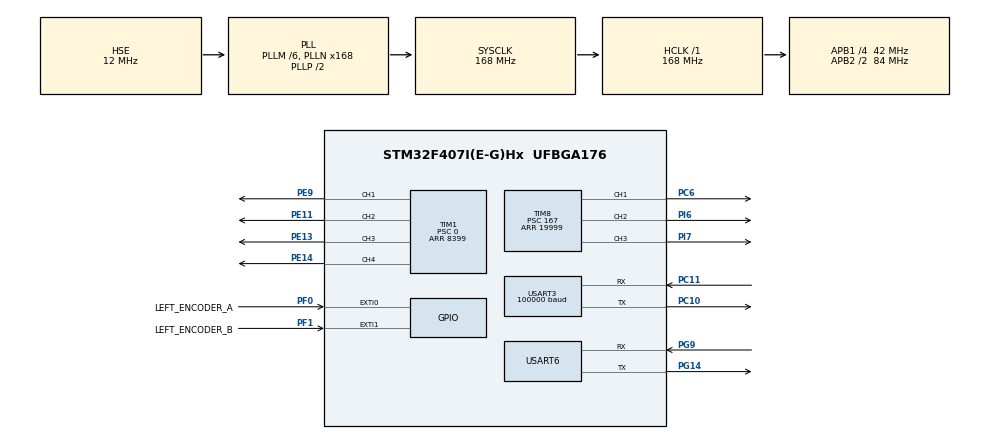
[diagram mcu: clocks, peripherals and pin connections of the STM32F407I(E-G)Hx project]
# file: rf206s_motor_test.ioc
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Dma.Request0=USART3_RX
Dma.USART3_RX.0.Direction=DMA_PERIPH_TO_MEMORY
Dma.USART3_RX.0.FIFOMode=DMA_FIFOMODE_DISABLE
Dma.USART3_RX.0.Instance=DMA1_Stream1
Dma.USART3_RX.0.MemDataAlignment=DMA_MDATAALIGN_BYTE
Dma.USART3_RX.0.MemInc=DMA_MINC_ENABLE
Dma.USART3_RX.0.Mode=DMA_NORMAL
Dma.USART3_RX.0.PeriphDataAlignment=DMA_PDATAALIGN_BYTE
Dma.USART3_RX.0.PeriphInc=DMA_PINC_DISABLE
Dma.USART3_RX.0.Priority=DMA_PRIORITY_LOW
Mcu.Family=STM32F4
Mcu.Name=STM32F407I(E-G)Hx
Mcu.Package=UFBGA176
NVIC.DMA1_Stream1_IRQn=true\:0\:0\:false\:false\:true\:false\:false\:true
NVIC.EXTI0_IRQn=true\:1\:0\:true\:false\:true\:true\:true\:true
NVIC.EXTI1_IRQn=true\:1\:0\:true\:false\:true\:true\:true\:true
NVIC.PriorityGroup=NVIC_PRIORITYGROUP_4
NVIC.USART3_IRQn=true\:0\:0\:false\:false\:true\:true\:true\:true
PA13.Mode=Serial_Wire
PA13.Signal=SYS_JTMS-SWDIO
PA14.Mode=Serial_Wire
PA14.Signal=SYS_JTCK-SWCLK
PC10.Mode=Asynchronous
PC10.Signal=USART3_TX
PC11.Mode=Asynchronous
PC11.Signal=USART3_RX
PC6.GPIO_PuPd=GPIO_PULLUP
PC6.GPIO_Speed=GPIO_SPEED_FREQ_HIGH
PC6.Signal=S_TIM8_CH1
PE11.GPIO_PuPd=GPIO_NOPULL
PE11.GPIO_Speed=GPIO_SPEED_FREQ_HIGH
PE11.Signal=S_TIM1_CH2
PE13.GPIO_PuPd=GPIO_PULLUP
PE13.GPIO_Speed=GPIO_SPEED_FREQ_HIGH
PE13.Signal=S_TIM1_CH3
PE14.GPIO_PuPd=GPIO_PULLUP
PE14.GPIO_Speed=GPIO_SPEED_FREQ_HIGH
PE14.Signal=S_TIM1_CH4
PE9.GPIO_PuPd=GPIO_NOPULL
PE9.GPIO_Speed=GPIO_SPEED_FREQ_HIGH
PE9.Signal=S_TIM1_CH1
PF0.GPIO_Label=LEFT_ENCODER_A
PF0.GPIO_ModeDefaultEXTI=GPIO_MODE_IT_RISING_FALLING
PF0.Signal=GPXTI0
PF1.GPIO_Label=LEFT_ENCODER_B
PF1.GPIO_ModeDefaultEXTI=GPIO_MODE_IT_RISING_FALLING
PF1.Signal=GPXTI1
PG14.Mode=Asynchronous
PG14.Signal=USART6_TX
PG9.Mode=Asynchronous
PG9.Signal=USART6_RX
PH0-OSC_IN.Mode=HSE-External-Oscillator
PH0-OSC_IN.Signal=RCC_OSC_IN
PH1-OSC_OUT.Mode=HSE-External-Oscillator
PH1-OSC_OUT.Signal=RCC_OSC_OUT
PI6.GPIO_PuPd=GPIO_PULLUP
PI6.GPIO_Speed=GPIO_SPEED_FREQ_HIGH
PI6.Signal=S_TIM8_CH2
PI7.Signal=S_TIM8_CH3
ProjectManager.HeapSize=0x2000
ProjectManager.StackSize=0x2000
ProjectManager.TargetToolchain=CMake
RCC.48MHZClocksFreq_Value=48000000
RCC.AHBFreq_Value=168000000
RCC.APB1CLKDivider=RCC_HCLK_DIV4
RCC.APB1Freq_Value=42000000
RCC.APB1TimFreq_Value=84000000
RCC.APB2CLKDivider=RCC_HCLK_DIV2
RCC.APB2Freq_Value=84000000
RCC.APB2TimFreq_Value=168000000
RCC.CortexFreq_Value=168000000
RCC.HCLKFreq_Value=168000000
RCC.HSE_VALUE=12000000
RCC.HSI_VALUE=16000000
RCC.LSE_VALUE=32768
RCC.PLLM=6
RCC.PLLN=168
RCC.PLLQ=7
RCC.PLLSourceVirtual=RCC_PLLSOURCE_HSE
RCC.RCC_RTC_Clock_SourceVirtual=RCC_RTCCLKSOURCE_HSE_DIV30
RCC.RCC_RTC_Clock_Source_FROM_HSE=RCC_RTCCLKSOURCE_HSE_DIV30
RCC.SYSCLKFreq_VALUE=168000000
RCC.SYSCLKSource=RCC_SYSCLKSOURCE_PLLCLK
RCC.VCOOutputFreq_Value=336000000
SH.S_TIM1_CH1.0=TIM1_CH1,PWM Generation1 CH1
SH.S_TIM1_CH2.0=TIM1_CH2,PWM Generation2 CH2
SH.S_TIM1_CH3.0=TIM1_CH3,PWM Generation3 CH3
SH.S_TIM1_CH4.0=TIM1_CH4,PWM Generation4 CH4
SH.S_TIM8_CH1.0=TIM8_CH1,PWM Generation1 CH1
SH.S_TIM8_CH2.0=TIM8_CH2,PWM Generation2 CH2
SH.S_TIM8_CH3.0=TIM8_CH3,PWM Generation3 CH3
TIM1.Channel-PWM\ Generation1\ CH1=TIM_CHANNEL_1
TIM1.Channel-PWM\ Generation2\ CH2=TIM_CHANNEL_2
TIM1.Channel-PWM\ Generation3\ CH3=TIM_CHANNEL_3
TIM1.Channel-PWM\ Generation4\ CH4=TIM_CHANNEL_4
TIM1.Period=8399
TIM1.Prescaler=0
TIM1.Pulse-PWM\ Generation1\ CH1=0
TIM1.Pulse-PWM\ Generation2\ CH2=0
TIM1.Pulse-PWM\ Generation3\ CH3=0
TIM1.Pulse-PWM\ Generation4\ CH4=0
TIM8.Channel-PWM\ Generation1\ CH1=TIM_CHANNEL_1
TIM8.Channel-PWM\ Generation2\ CH2=TIM_CHANNEL_2
TIM8.Channel-PWM\ Generation3\ CH3=TIM_CHANNEL_3
TIM8.Period=19999
TIM8.Prescaler=167
TIM8.Pulse-PWM\ Generation1\ CH1=2000
TIM8.Pulse-PWM\ Generation2\ CH2=2000
TIM8.Pulse-PWM\ Generation3\ CH3=2000
USART3.BaudRate=100000
USART3.Mode=MODE_RX
USART3.Parity=PARITY_EVEN
USART3.StopBits=STOPBITS_2
USART3.VirtualMode=VM_ASYNC
USART3.WordLength=WORDLENGTH_9B
USART6.VirtualMode=VM_ASYNC
VP_TIM1_VS_ClockSourceINT.Mode=Internal
VP_TIM8_VS_ClockSourceINT.Mode=Internal
board=custom

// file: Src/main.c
/* USER CODE BEGIN Header */
/**
  ******************************************************************************
  * @file           : main.c
  * @brief          : Main program body
  ******************************************************************************
  * @attention
  *
  * <h2><center>&copy; Copyright (c) 2019 STMicroelectronics.
  * All rights reserved.</center></h2>
  *
  * This software component is licensed by ST under BSD 3-Clause license,
  * the "License"; You may not use this file except in compliance with the
  * License. You may obtain a copy of the License at:
  *                        opensource.org/licenses/BSD-3-Clause
  *
  ******************************************************************************
  */
/* USER CODE END Header */
#include "main.h"
#include "dma.h"
#include "tim.h"
#include "usart.h"
#include "gpio.h"

/* USER CODE BEGIN Includes */
#include <stdio.h>
/* USER CODE END Includes */

/* USER CODE BEGIN PD */
#define WBUS_RX_BUFFER_SIZE          32U
#define WBUS_FRAME_SIZE              25U
#define WBUS_EXPECTED_START_BYTE     0x0FU
#define WBUS_EXPECTED_END_BYTE       0x00U
#define WBUS_FLAGS_INDEX             23U
#define WBUS_FLAG_FRAME_LOST         0x04U
#define WBUS_FLAG_FAILSAFE           0x08U
#define WBUS_LINK_TIMEOUT_MS         100U

#define DRIVE_CONTROL_PERIOD_MS      10U
#define DRIVE_STICK_CENTER           1024
#define DRIVE_STICK_DEADZONE         80
#define DRIVE_STICK_SPAN             670
#define DRIVE_COMMAND_FULL_SCALE     1000
#define DRIVE_SLEW_STEP              5
#define DRIVE_MAX_DUTY_PERCENT       50U
#define DRIVE_ENABLE_THRESHOLD       1024U
#define DRIVE_THROTTLE_CHANNEL       2U
#define DRIVE_TURN_CHANNEL           0U
#define DRIVE_ENABLE_CHANNEL         4U
#define DRIVE_LEFT_MOTOR_POLARITY    1
#define DRIVE_RIGHT_MOTOR_POLARITY   (-1)

#define ENCODER_SPEED_SAMPLE_MS      100U

#define DEBUG_UART_PERIOD_MS         100U
#define DEBUG_UART_HEADER_INTERVAL   50U
/* USER CODE END PD */

/* USER CODE BEGIN PV */
static uint8_t wbus_dma_buffer[WBUS_RX_BUFFER_SIZE];

/*
 * These volatile variables are intentionally easy to inspect in a debugger.
 * W.BUS input, safety state, and drive outputs remain visible to the debugger.
 */
volatile uint8_t wbus_last_frame[WBUS_RX_BUFFER_SIZE];
volatile uint16_t wbus_last_length = 0U;
volatile uint8_t wbus_first_byte = 0U;
volatile uint8_t wbus_last_byte = 0U;
volatile uint8_t wbus_header_ok = 0U;
volatile uint8_t wbus_candidate_frame = 0U;
volatile uint8_t wbus_frame_valid = 0U;
volatile uint8_t wbus_flags = 0U;
volatile uint8_t wbus_frame_lost = 0U;
volatile uint8_t wbus_failsafe = 0U;
volatile uint8_t wbus_digital_channel_17 = 0U;
volatile uint8_t wbus_digital_channel_18 = 0U;
volatile uint8_t wbus_link_alive = 0U;
volatile uint8_t wbus_rx_needs_restart = 0U;
volatile uint16_t wbus_channels[16];
volatile uint32_t wbus_last_tick = 0U;
volatile uint32_t wbus_rx_event_count = 0U;
volatile uint32_t wbus_valid_frame_count = 0U;
volatile uint32_t wbus_invalid_event_count = 0U;
volatile uint32_t wbus_uart_error_count = 0U;
volatile uint32_t wbus_rx_restart_error_count = 0U;
volatile uint32_t wbus_last_uart_error = HAL_UART_ERROR_NONE;

/*
 * Drive diagnostic values.  Command range is -1000..1000.  PWM output is
 * additionally limited to DRIVE_MAX_DUTY_PERCENT for the first track test.
 */
volatile int16_t drive_throttle_command = 0;
volatile int16_t drive_turn_command = 0;
volatile int16_t drive_left_target = 0;
volatile int16_t drive_right_target = 0;
volatile int16_t drive_left_applied = 0;
volatile int16_t drive_right_applied = 0;
volatile int16_t drive_left_output_command = 0;
volatile int16_t drive_right_output_command = 0;
volatile uint16_t drive_left_pwm = 0U;
volatile uint16_t drive_right_pwm = 0U;
volatile uint8_t drive_link_ok = 0U;
volatile uint8_t drive_enable_requested = 0U;
volatile uint8_t drive_enable_seen_low = 0U;
volatile uint8_t drive_previous_enable_request = 0U;
volatile uint8_t drive_armed = 0U;

/*
 * Left quadrature encoder diagnostics.  Position is in x4 edge counts.
 * Conversion to shaft RPM will be added after the encoder counts per
 * revolution are measured or confirmed from the motor specification.
 */
volatile int32_t left_encoder_position = 0;
volatile int32_t left_encoder_delta_100ms = 0;
volatile int32_t left_encoder_counts_per_second = 0;
volatile uint32_t left_encoder_edge_count = 0U;
volatile uint32_t left_encoder_invalid_transition_count = 0U;
volatile uint8_t left_encoder_a_level = 0U;
volatile uint8_t left_encoder_b_level = 0U;
volatile uint8_t left_encoder_previous_state = 0U;

static char debug_uart_buffer[192];
static uint8_t debug_uart_header_countdown = 0U;
/* USER CODE END PV */

void SystemClock_Config(void);
/* USER CODE BEGIN PFP */
static HAL_StatusTypeDef wbus_start_receive(void);
static void wbus_decode_channels(void);
static void wbus_store_frame(uint16_t size);
static int16_t drive_normalize_stick(uint16_t raw);
static int16_t drive_clamp_command(int32_t command);
static int16_t drive_slew(int16_t current, int16_t target);
static void drive_force_stop(void);
static void drive_write_motor(TIM_HandleTypeDef *timer,
                              uint32_t rpwm_channel,
                              uint32_t lpwm_channel,
                              int16_t command,
                              volatile uint16_t *pwm_monitor);
static void drive_control_update(void);
static void left_encoder_init(void);
static void left_encoder_update_from_edge(void);
static void left_encoder_update_speed(void);
static void debug_uart_send_snapshot(void);
/* USER CODE END PFP */

/* USER CODE BEGIN 0 */
static HAL_StatusTypeDef wbus_start_receive(void)
{
  HAL_StatusTypeDef status;

  status = HAL_UARTEx_ReceiveToIdle_DMA(&huart3,
                                        wbus_dma_buffer,
                                        WBUS_RX_BUFFER_SIZE);
  if ((status == HAL_OK) && (huart3.hdmarx != NULL))
  {
    /*
     * An S.BUS/W.BUS frame is shorter than this buffer.  The USART idle event
     * marks the frame boundary, so a half-transfer interrupt is unnecessary.
     */
    __HAL_DMA_DISABLE_IT(huart3.hdmarx, DMA_IT_HT);
  }

  return status;
}

static void wbus_decode_channels(void)
{
  uint8_t channel;

  for (channel = 0U; channel < 16U; ++channel)
  {
    uint16_t bit_index = (uint16_t)channel * 11U;
    uint16_t byte_index = 1U + (bit_index / 8U);
    uint8_t bit_offset = (uint8_t)(bit_index % 8U);
    uint32_t packed;

    packed = (uint32_t)wbus_last_frame[byte_index];
    packed |= (uint32_t)wbus_last_frame[byte_index + 1U] << 8U;
    if ((byte_index + 2U) < WBUS_FLAGS_INDEX)
    {
      packed |= (uint32_t)wbus_last_frame[byte_index + 2U] << 16U;
    }

    wbus_channels[channel] = (uint16_t)((packed >> bit_offset) & 0x07FFU);
  }
}

static void wbus_store_frame(uint16_t size)
{
  uint16_t copy_size;
  uint16_t index;

  copy_size = size;
  if (copy_size > WBUS_RX_BUFFER_SIZE)
  {
    copy_size = WBUS_RX_BUFFER_SIZE;
  }

  for (index = 0U; index < copy_size; ++index)
  {
    wbus_last_frame[index] = wbus_dma_buffer[index];
  }

  for (; index < WBUS_RX_BUFFER_SIZE; ++index)
  {
    wbus_last_frame[index] = 0U;
  }

  wbus_last_length = size;
  wbus_first_byte = (copy_size > 0U) ? wbus_last_frame[0] : 0U;
  wbus_last_byte = (copy_size > 0U) ? wbus_last_frame[copy_size - 1U] : 0U;
  wbus_header_ok = (wbus_first_byte == WBUS_EXPECTED_START_BYTE) ? 1U : 0U;
  wbus_candidate_frame =
      ((wbus_header_ok != 0U) &&
       (size == WBUS_FRAME_SIZE) &&
       (wbus_last_byte == WBUS_EXPECTED_END_BYTE)) ? 1U : 0U;

  if (wbus_candidate_frame != 0U)
  {
    wbus_flags = wbus_last_frame[WBUS_FLAGS_INDEX];
    wbus_frame_lost =
        ((wbus_flags & WBUS_FLAG_FRAME_LOST) != 0U) ? 1U : 0U;
    wbus_failsafe =
        ((wbus_flags & WBUS_FLAG_FAILSAFE) != 0U) ? 1U : 0U;
    wbus_digital_channel_17 = (wbus_flags & 0x01U) ? 1U : 0U;
    wbus_digital_channel_18 = (wbus_flags & 0x02U) ? 1U : 0U;

    wbus_decode_channels();

    if ((wbus_frame_lost == 0U) && (wbus_failsafe == 0U))
    {
      wbus_frame_valid = 1U;
      wbus_link_alive = 1U;
      ++wbus_valid_frame_count;
    }
    else
    {
      /*
       * A complete frame carrying a real receiver failsafe/lost-frame flag
       * must stop the drive immediately.
       */
      wbus_frame_valid = 0U;
      wbus_link_alive = 0U;
    }

    wbus_last_tick = HAL_GetTick();
  }
  else
  {
    /*
     * UART idle detection can occasionally split a frame.  Ignore that
     * incomplete event and let the 100 ms valid-frame timeout decide whether
     * the receiver is actually offline.
     */
    ++wbus_invalid_event_count;
  }

  ++wbus_rx_event_count;
}

static int16_t drive_normalize_stick(uint16_t raw)
{
  int32_t delta = (int32_t)raw - DRIVE_STICK_CENTER;
  int32_t magnitude;
  int32_t normalized;

  if ((delta >= -DRIVE_STICK_DEADZONE) &&
      (delta <= DRIVE_STICK_DEADZONE))
  {
    return 0;
  }

  if (delta > 0)
  {
    magnitude = delta - DRIVE_STICK_DEADZONE;
  }
  else
  {
    magnitude = -delta - DRIVE_STICK_DEADZONE;
  }

  normalized =
      (magnitude * DRIVE_COMMAND_FULL_SCALE) /
      (DRIVE_STICK_SPAN - DRIVE_STICK_DEADZONE);
  if (normalized > DRIVE_COMMAND_FULL_SCALE)
  {
    normalized = DRIVE_COMMAND_FULL_SCALE;
  }

  return (delta > 0) ? (int16_t)normalized : (int16_t)-normalized;
}

static int16_t drive_clamp_command(int32_t command)
{
  if (command > DRIVE_COMMAND_FULL_SCALE)
  {
    return DRIVE_COMMAND_FULL_SCALE;
  }
  if (command < -DRIVE_COMMAND_FULL_SCALE)
  {
    return -DRIVE_COMMAND_FULL_SCALE;
  }
  return (int16_t)command;
}

static int16_t drive_slew(int16_t current, int16_t target)
{
  int32_t difference;

  /* A direction change must ramp to zero before the opposite PWM is used. */
  if (((current > 0) && (target < 0)) ||
      ((current < 0) && (target > 0)))
  {
    target = 0;
  }

  difference = (int32_t)target - current;

  if (difference > DRIVE_SLEW_STEP)
  {
    return (int16_t)(current + DRIVE_SLEW_STEP);
  }
  if (difference < -DRIVE_SLEW_STEP)
  {
    return (int16_t)(current - DRIVE_SLEW_STEP);
  }
  return target;
}

static void drive_force_stop(void)
{
  __HAL_TIM_SET_COMPARE(&htim1, TIM_CHANNEL_1, 0U);
  __HAL_TIM_SET_COMPARE(&htim1, TIM_CHANNEL_2, 0U);
  __HAL_TIM_SET_COMPARE(&htim1, TIM_CHANNEL_3, 0U);
  __HAL_TIM_SET_COMPARE(&htim1, TIM_CHANNEL_4, 0U);
  __HAL_TIM_SET_COMPARE(&htim8, TIM_CHANNEL_1, 0U);
  __HAL_TIM_SET_COMPARE(&htim8, TIM_CHANNEL_2, 0U);

  drive_left_target = 0;
  drive_right_target = 0;
  drive_left_applied = 0;
  drive_right_applied = 0;
  drive_left_output_command = 0;
  drive_right_output_command = 0;
  drive_left_pwm = 0U;
  drive_right_pwm = 0U;
}

static void drive_write_motor(TIM_HandleTypeDef *timer,
                              uint32_t rpwm_channel,
                              uint32_t lpwm_channel,
                              int16_t command,
                              volatile uint16_t *pwm_monitor)
{
  uint32_t magnitude;
  uint32_t period_counts;
  uint32_t pulse;

  magnitude = (command >= 0) ? (uint32_t)command : (uint32_t)-command;
  period_counts = __HAL_TIM_GET_AUTORELOAD(timer) + 1U;
  pulse = (period_counts * magnitude * DRIVE_MAX_DUTY_PERCENT) /
          (DRIVE_COMMAND_FULL_SCALE * 100U);

  if (command > 0)
  {
    /* Forward: LPWM is forced low before RPWM is enabled. */
    __HAL_TIM_SET_COMPARE(timer, lpwm_channel, 0U);
    __HAL_TIM_SET_COMPARE(timer, rpwm_channel, pulse);
  }
  else if (command < 0)
  {
    /* Reverse: RPWM is forced low before LPWM is enabled. */
    __HAL_TIM_SET_COMPARE(timer, rpwm_channel, 0U);
    __HAL_TIM_SET_COMPARE(timer, lpwm_channel, pulse);
  }
  else
  {
    __HAL_TIM_SET_COMPARE(timer, rpwm_channel, 0U);
    __HAL_TIM_SET_COMPARE(timer, lpwm_channel, 0U);
  }

  *pwm_monitor = (uint16_t)pulse;
}

static void drive_control_update(void)
{
  uint32_t now;
  uint32_t last_frame_tick;
  uint32_t interrupt_state;
  uint16_t throttle_raw;
  uint16_t turn_raw;
  uint16_t enable_raw;
  uint8_t frame_valid;
  uint8_t enable_request;
  int16_t throttle;
  int16_t turn;

  now = HAL_GetTick();

  interrupt_state = __get_PRIMASK();
  __disable_irq();
  last_frame_tick = wbus_last_tick;
  frame_valid = wbus_frame_valid;
  throttle_raw = wbus_channels[DRIVE_THROTTLE_CHANNEL];
  turn_raw = wbus_channels[DRIVE_TURN_CHANNEL];
  enable_raw = wbus_channels[DRIVE_ENABLE_CHANNEL];
  if (interrupt_state == 0U)
  {
    __enable_irq();
  }

  drive_link_ok =
      ((frame_valid != 0U) &&
       ((now - last_frame_tick) <= WBUS_LINK_TIMEOUT_MS)) ? 1U : 0U;
  enable_request =
      ((drive_link_ok != 0U) &&
       (enable_raw > DRIVE_ENABLE_THRESHOLD)) ? 1U : 0U;
  drive_enable_requested = enable_request;

  throttle = drive_normalize_stick(throttle_raw);
  turn = drive_normalize_stick(turn_raw);
  drive_throttle_command = throttle;
  drive_turn_command = turn;

  if (drive_link_ok == 0U)
  {
    drive_armed = 0U;
    drive_enable_seen_low = 0U;
    drive_previous_enable_request = 0U;
    drive_force_stop();
    return;
  }

  if (enable_request == 0U)
  {
    drive_armed = 0U;
    drive_enable_seen_low = 1U;
    drive_previous_enable_request = 0U;
    drive_force_stop();
    return;
  }

  /*
   * Arming is accepted on the SA-up to SA-down transition, regardless of
   * stick position.  SA-up always disarms and forces both motor outputs low.
   */
  if (drive_armed == 0U)
  {
    if ((drive_enable_seen_low != 0U) &&
        (drive_previous_enable_request == 0U))
    {
      drive_armed = 1U;
    }
    else
    {
      drive_previous_enable_request = 1U;
      drive_force_stop();
      return;
    }
  }

  drive_previous_enable_request = 1U;
  /* Differential tracked-vehicle mixing. */
  drive_left_target =
      drive_clamp_command((int32_t)throttle + (int32_t)turn);
  drive_right_target =
      drive_clamp_command((int32_t)throttle - (int32_t)turn);

  drive_left_applied =
      drive_slew(drive_left_applied, drive_left_target);
  drive_right_applied =
      drive_slew(drive_right_applied, drive_right_target);

  /*
   * Reversed vehicle-forward wiring: left C3, right C6.
   */
  drive_left_output_command =
      (int16_t)(drive_left_applied * DRIVE_LEFT_MOTOR_POLARITY);
  drive_right_output_command =
      (int16_t)(drive_right_applied * DRIVE_RIGHT_MOTOR_POLARITY);

  drive_write_motor(&htim1,
                    TIM_CHANNEL_3,
                    TIM_CHANNEL_4,
                    drive_left_output_command,
                    &drive_left_pwm);

  drive_write_motor(&htim8,
                    TIM_CHANNEL_1,
                    TIM_CHANNEL_2,
                    drive_right_output_command,
                    &drive_right_pwm);
}

static void left_encoder_init(void)
{
  uint8_t state;

  left_encoder_a_level =
      (HAL_GPIO_ReadPin(LEFT_ENCODER_A_GPIO_Port,
                        LEFT_ENCODER_A_Pin) == GPIO_PIN_SET) ? 1U : 0U;
  left_encoder_b_level =
      (HAL_GPIO_ReadPin(LEFT_ENCODER_B_GPIO_Port,
                        LEFT_ENCODER_B_Pin) == GPIO_PIN_SET) ? 1U : 0U;
  state = (uint8_t)((left_encoder_a_level << 1U) |
                    left_encoder_b_level);
  left_encoder_previous_state = state;
}

static void left_encoder_update_from_edge(void)
{
  /*
   * Quadrature transition table indexed by:
   *   previous A/B state (two high bits) + current A/B state (two low bits)
   */
  static const int8_t transition_delta[16] =
  {
     0, -1,  1,  0,
     1,  0,  0, -1,
    -1,  0,  0,  1,
     0,  1, -1,  0
  };
  uint8_t current_state;
  uint8_t transition;
  int8_t delta;

  left_encoder_a_level =
      (HAL_GPIO_ReadPin(LEFT_ENCODER_A_GPIO_Port,
                        LEFT_ENCODER_A_Pin) == GPIO_PIN_SET) ? 1U : 0U;
  left_encoder_b_level =
      (HAL_GPIO_ReadPin(LEFT_ENCODER_B_GPIO_Port,
                        LEFT_ENCODER_B_Pin) == GPIO_PIN_SET) ? 1U : 0U;
  current_state = (uint8_t)((left_encoder_a_level << 1U) |
                            left_encoder_b_level);
  transition = (uint8_t)((left_encoder_previous_state << 2U) |
                         current_state);
  delta = transition_delta[transition];

  if (delta != 0)
  {
    left_encoder_position += delta;
  }
  else if (current_state != left_encoder_previous_state)
  {
    ++left_encoder_invalid_transition_count;
  }

  left_encoder_previous_state = current_state;
  ++left_encoder_edge_count;
}

static void left_encoder_update_speed(void)
{
  static int32_t previous_position = 0;
  int32_t current_position;

  current_position = left_encoder_position;
  left_encoder_delta_100ms = current_position - previous_position;
  left_encoder_counts_per_second =
      left_encoder_delta_100ms * (1000 / ENCODER_SPEED_SAMPLE_MS);
  previous_position = current_position;
}

static void debug_uart_send_snapshot(void)
{
  static const char header[] =
      "ms,thr_raw,turn_raw,sa_raw,link,enable,armed,thr_cmd,left_cmd,"
      "rpwm,lpwm,enc_pos,enc_cps,enc_invalid,"
      "right_cmd,right_rpwm,right_lpwm\r\n";
  uint32_t interrupt_state;
  uint32_t now;
  uint16_t throttle_raw;
  uint16_t turn_raw;
  uint16_t enable_raw;
  uint8_t link_ok;
  uint8_t enable_requested;
  uint8_t armed;
  int16_t throttle_command;
  int16_t left_output_command;
  int16_t right_output_command;
  uint32_t rpwm;
  uint32_t lpwm;
  uint32_t right_rpwm;
  uint32_t right_lpwm;
  int32_t encoder_position;
  int32_t encoder_counts_per_second;
  uint32_t encoder_invalid;
  int length;

  if (debug_uart_header_countdown == 0U)
  {
    (void)HAL_UART_Transmit(&huart6,
                            (uint8_t *)header,
                            (uint16_t)(sizeof(header) - 1U),
                            20U);
    debug_uart_header_countdown = DEBUG_UART_HEADER_INTERVAL;
  }
  --debug_uart_header_countdown;

  now = HAL_GetTick();
  interrupt_state = __get_PRIMASK();
  __disable_irq();
  throttle_raw = wbus_channels[DRIVE_THROTTLE_CHANNEL];
  turn_raw = wbus_channels[DRIVE_TURN_CHANNEL];
  enable_raw = wbus_channels[DRIVE_ENABLE_CHANNEL];
  link_ok = drive_link_ok;
  enable_requested = drive_enable_requested;
  armed = drive_armed;
  throttle_command = drive_throttle_command;
  left_output_command = drive_left_output_command;
  right_output_command = drive_right_output_command;
  encoder_position = left_encoder_position;
  encoder_counts_per_second = left_encoder_counts_per_second;
  encoder_invalid = left_encoder_invalid_transition_count;
  if (interrupt_state == 0U)
  {
    __enable_irq();
  }

  rpwm = __HAL_TIM_GET_COMPARE(&htim1, TIM_CHANNEL_3);
  lpwm = __HAL_TIM_GET_COMPARE(&htim1, TIM_CHANNEL_4);
  right_rpwm = __HAL_TIM_GET_COMPARE(&htim8, TIM_CHANNEL_1);
  right_lpwm = __HAL_TIM_GET_COMPARE(&htim8, TIM_CHANNEL_2);

  length = snprintf(debug_uart_buffer,
                    sizeof(debug_uart_buffer),
                    "%lu,%u,%u,%u,%u,%u,%u,%d,%d,%lu,%lu,%ld,%ld,%lu,%d,%lu,%lu\r\n",
                    (unsigned long)now,
                    (unsigned int)throttle_raw,
                    (unsigned int)turn_raw,
                    (unsigned int)enable_raw,
                    (unsigned int)link_ok,
                    (unsigned int)enable_requested,
                    (unsigned int)armed,
                    (int)throttle_command,
                    (int)left_output_command,
                    (unsigned long)rpwm,
                    (unsigned long)lpwm,
                    (long)encoder_position,
                    (long)encoder_counts_per_second,
                    (unsigned long)encoder_invalid,
                    (int)right_output_command,
                    (unsigned long)right_rpwm,
                    (unsigned long)right_lpwm);

  if ((length > 0) && ((size_t)length < sizeof(debug_uart_buffer)))
  {
    (void)HAL_UART_Transmit(&huart6,
                            (uint8_t *)debug_uart_buffer,
                            (uint16_t)length,
                            20U);
  }
}

/* USER CODE END 0 */

int main(void)
{

  /* MCU Configuration--------------------------------------------------------*/

  /* Reset of all peripherals, Initializes the Flash interface and the Systick. */
  HAL_Init();

  /* Configure the system clock */
  SystemClock_Config();

  /* Initialize all configured peripherals */
  MX_GPIO_Init();
  MX_DMA_Init();
  MX_USART3_UART_Init();
  MX_TIM8_Init();
  MX_TIM1_Init();
  MX_USART6_UART_Init();
  /* USER CODE BEGIN 2 */
  /*
   * Safety: all motor PWM compare values start at zero.  PWM channels run,
   * but drive_control_update keeps them low until W.BUS and SA are valid.
   */
  __HAL_TIM_SET_COMPARE(&htim1, TIM_CHANNEL_1, 0U);
  __HAL_TIM_SET_COMPARE(&htim1, TIM_CHANNEL_2, 0U);
  __HAL_TIM_SET_COMPARE(&htim1, TIM_CHANNEL_3, 0U);
  __HAL_TIM_SET_COMPARE(&htim1, TIM_CHANNEL_4, 0U);

  /*
   * C5/C6 use TIM8_CH1/CH2.  CubeMX originally configured TIM8 for 50 Hz
   * servo output; override it here to match TIM1's 20 kHz motor PWM.
   */
  htim8.Instance->PSC = 0U;
  htim8.Instance->ARR = 8399U;
  htim8.Instance->CNT = 0U;
  htim8.Instance->EGR = TIM_EGR_UG;
  __HAL_TIM_SET_COMPARE(&htim8, TIM_CHANNEL_1, 0U);
  __HAL_TIM_SET_COMPARE(&htim8, TIM_CHANNEL_2, 0U);
  __HAL_TIM_SET_COMPARE(&htim8, TIM_CHANNEL_3, 0U);

  if (HAL_TIM_PWM_Start(&htim1, TIM_CHANNEL_1) != HAL_OK)
  {
    Error_Handler();
  }
  if (HAL_TIM_PWM_Start(&htim1, TIM_CHANNEL_2) != HAL_OK)
  {
    Error_Handler();
  }
  if (HAL_TIM_PWM_Start(&htim1, TIM_CHANNEL_3) != HAL_OK)
  {
    Error_Handler();
  }
  if (HAL_TIM_PWM_Start(&htim1, TIM_CHANNEL_4) != HAL_OK)
  {
    Error_Handler();
  }
  if (HAL_TIM_PWM_Start(&htim8, TIM_CHANNEL_1) != HAL_OK)
  {
    Error_Handler();
  }
  if (HAL_TIM_PWM_Start(&htim8, TIM_CHANNEL_2) != HAL_OK)
  {
    Error_Handler();
  }

  left_encoder_init();

  if (wbus_start_receive() != HAL_OK)
  {
    Error_Handler();
  }

  /* USER CODE END 2 */

  /* Infinite loop */
  /* USER CODE BEGIN WHILE */
  uint32_t drive_last_control_tick = HAL_GetTick();
  uint32_t encoder_last_speed_tick = HAL_GetTick();
  uint32_t debug_uart_last_tick = HAL_GetTick();

  while (1)
  {
    /* USER CODE END WHILE */

    /* USER CODE BEGIN 3 */
    if ((wbus_link_alive != 0U) &&
        ((HAL_GetTick() - wbus_last_tick) > WBUS_LINK_TIMEOUT_MS))
    {
      wbus_link_alive = 0U;
    }

    if (wbus_rx_needs_restart != 0U)
    {
      (void)HAL_UART_AbortReceive(&huart3);
      if (wbus_start_receive() == HAL_OK)
      {
        wbus_rx_needs_restart = 0U;
      }
      else
      {
        ++wbus_rx_restart_error_count;
      }
    }

    if ((HAL_GetTick() - drive_last_control_tick) >=
        DRIVE_CONTROL_PERIOD_MS)
    {
      drive_last_control_tick += DRIVE_CONTROL_PERIOD_MS;

      drive_control_update();
    }

    if ((HAL_GetTick() - encoder_last_speed_tick) >=
        ENCODER_SPEED_SAMPLE_MS)
    {
      encoder_last_speed_tick += ENCODER_SPEED_SAMPLE_MS;
      left_encoder_update_speed();
    }

    if ((HAL_GetTick() - debug_uart_last_tick) >= DEBUG_UART_PERIOD_MS)
    {
      debug_uart_last_tick += DEBUG_UART_PERIOD_MS;
      debug_uart_send_snapshot();
    }

    HAL_Delay(1U);
  }
  /* USER CODE END 3 */
}

void SystemClock_Config(void)
{
  RCC_OscInitTypeDef RCC_OscInitStruct = {0};
  RCC_ClkInitTypeDef RCC_ClkInitStruct = {0};

  /** Configure the main internal regulator output voltage
  */
  __HAL_RCC_PWR_CLK_ENABLE();
  __HAL_PWR_VOLTAGESCALING_CONFIG(PWR_REGULATOR_VOLTAGE_SCALE1);

  /** Initializes the RCC Oscillators according to the specified parameters
  * in the RCC_OscInitTypeDef structure.
  */
  RCC_OscInitStruct.OscillatorType = RCC_OSCILLATORTYPE_HSE;
  RCC_OscInitStruct.HSEState = RCC_HSE_ON;
  RCC_OscInitStruct.PLL.PLLState = RCC_PLL_ON;
  RCC_OscInitStruct.PLL.PLLSource = RCC_PLLSOURCE_HSE;
  RCC_OscInitStruct.PLL.PLLM = 6;
  RCC_OscInitStruct.PLL.PLLN = 168;
  RCC_OscInitStruct.PLL.PLLP = RCC_PLLP_DIV2;
  RCC_OscInitStruct.PLL.PLLQ = 7;
  if (HAL_RCC_OscConfig(&RCC_OscInitStruct) != HAL_OK)
  {
    Error_Handler();
  }

  /** Initializes the CPU, AHB and APB buses clocks
  */
  RCC_ClkInitStruct.ClockType = RCC_CLOCKTYPE_HCLK|RCC_CLOCKTYPE_SYSCLK
                              |RCC_CLOCKTYPE_PCLK1|RCC_CLOCKTYPE_PCLK2;
  RCC_ClkInitStruct.SYSCLKSource = RCC_SYSCLKSOURCE_PLLCLK;
  RCC_ClkInitStruct.AHBCLKDivider = RCC_SYSCLK_DIV1;
  RCC_ClkInitStruct.APB1CLKDivider = RCC_HCLK_DIV4;
  RCC_ClkInitStruct.APB2CLKDivider = RCC_HCLK_DIV2;

  if (HAL_RCC_ClockConfig(&RCC_ClkInitStruct, FLASH_LATENCY_5) != HAL_OK)
  {
    Error_Handler();
  }
}

/* USER CODE BEGIN 4 */
void HAL_GPIO_EXTI_Callback(uint16_t gpio_pin)
{
  if ((gpio_pin == LEFT_ENCODER_A_Pin) ||
      (gpio_pin == LEFT_ENCODER_B_Pin))
  {
    left_encoder_update_from_edge();
  }
}

void HAL_UARTEx_RxEventCallback(UART_HandleTypeDef *huart, uint16_t size)
{
  if (huart->Instance == USART3)
  {
    wbus_store_frame(size);

    if (wbus_start_receive() != HAL_OK)
    {
      wbus_rx_needs_restart = 1U;
      ++wbus_rx_restart_error_count;
    }
  }
}

void HAL_UART_ErrorCallback(UART_HandleTypeDef *huart)
{
  if (huart->Instance == USART3)
  {
    wbus_last_uart_error = HAL_UART_GetError(huart);
    ++wbus_uart_error_count;
    wbus_link_alive = 0U;
    wbus_rx_needs_restart = 1U;
    drive_armed = 0U;
    drive_force_stop();
  }
}

/* USER CODE END 4 */

void Error_Handler(void)
{
}
